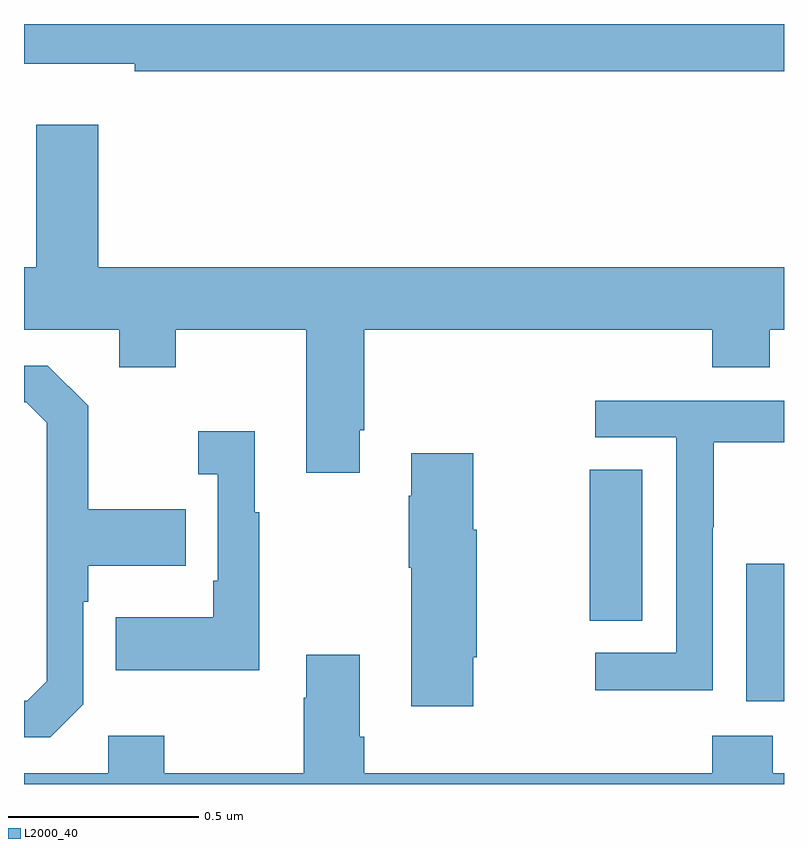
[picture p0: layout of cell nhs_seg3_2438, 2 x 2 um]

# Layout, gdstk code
import gdstk
lib = gdstk.Library(unit=1e-6, precision=1e-09)
def R(c, l, rs):  # rectangles x0, y0, x1, y1
    for r in rs: c.add(gdstk.rectangle(r[:2], r[2:], *l))
def P(c, l, *ps):  # polygons
    for p in ps: c.add(gdstk.Polygon(p, *l))
L2000_40 = (2000, 40)

nhs_seg3_2438 = lib.new_cell('nhs_seg3_2438')
R(nhs_seg3_2438, L2000_40, [(142.901,686.618,143,686.979), (142.489,686.83,142.627,687.227)])
P(nhs_seg3_2438, L2000_40, [(143,688.4),(141,688.4),(141,688.295),(141.292,688.295),(141.292,688.276),(143,688.276)],
  [(141.883,687.331),(141.896,687.331),(141.896,687.596),(142.811,687.596),(142.811,687.497),(142.963,687.497),(142.963,687.596),(143,687.596),(143,687.76),(141.196,687.76),(141.196,688.135),(141.032,688.135),(141.032,687.76),(141,687.76),(141,687.596),(141.251,687.596),(141.251,687.497),(141.399,687.497),(141.399,687.596),(141.743,687.596),(141.743,687.219),(141.883,687.219)],
  [(141.156,686.61),(141.156,686.879),(141.169,686.879),(141.169,686.975),(141.425,686.975),(141.425,687.123),(141.169,687.123),(141.169,687.395),(141.063,687.501),(141,687.501),(141,687.405),(141.006,687.405),(141.06,687.351),(141.06,686.67),(141.009,686.619),(141,686.619),(141,686.523),(141.069,686.523)],
  [(142.812,687.076),(142.815,687.076),(142.815,687.3),(143,687.3),(143,687.408),(142.503,687.408),(142.503,687.312),(142.716,687.312),(142.716,686.745),(142.503,686.745),(142.503,686.647),(142.812,686.647)],
  [(141.619,687.115),(141.607,687.115),(141.607,687.328),(141.459,687.328),(141.459,687.215),(141.51,687.215),(141.51,686.935),(141.498,686.935),(141.498,686.839),(141.241,686.839),(141.241,686.699),(141.619,686.699)],
  [(142.182,686.733),(142.192,686.733),(142.192,687.069),(142.182,687.069),(142.182,687.271),(142.019,687.271),(142.019,687.158),(142.012,687.158),(142.012,686.969),(142.019,686.969),(142.019,686.604),(142.182,686.604)],
  [(143,686.428),(142.971,686.428),(142.971,686.527),(142.811,686.527),(142.811,686.428),(141.896,686.428),(141.896,686.524),(141.883,686.524),(141.883,686.74),(141.743,686.74),(141.743,686.627),(141.736,686.627),(141.736,686.428),(141.369,686.428),(141.369,686.527),(141.222,686.527),(141.222,686.428),(141,686.428),(141,686.4),(143,686.4)])

lib.write_gds('nhs_seg3_2438.gds')
